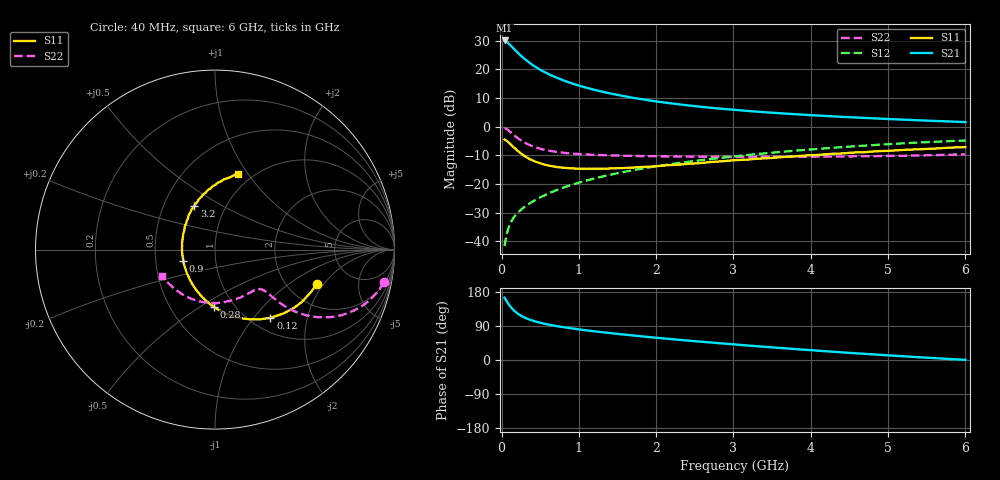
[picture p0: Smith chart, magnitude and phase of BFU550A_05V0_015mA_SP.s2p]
! Filename:  P:\Prog\Test\Noise\ATS_data\Testdata_Net\03 Spar\BFU550A_APG2013_35_C05_05p0V_015mA_SP_CM01_D.s2p
! Date/Time: Tue 16/Apr/2013 15:10:18
! BFU550A_APG2013_35_C05_05p0V_1to35mA_SP_CM01_Bias6_R.s2p
! MDIF S-parameter v. bias file
! BFU550A_APG2013_35_C05_05p0V_1to35mA_SP_CM01
! Date/time Mon Apr 15 15:41:37 2013
! VAR V_out= 5.0000
! VAR I_out= 14.9950
! VAR V_in= 0.8331
! VAR I_in= 0.1613
! Device data file deembeded for feedlines and parallel
! Original file: \03 Spar\BFU550A_APG2013_35_C05_05p0V_015mA_SP_CM01_R.s2p
! Feed-files: PR017V01_150413_Feed1.s2p, PR017V01_150413_Feed2.s2p
! Parallel-file: PR017V01_150413_Par.s2p
# MHz S MA R 50
!  Freq-MHz  S11-mag  S11-arg  S21-mag  S21-arg  S12-mag  S12-arg  S22-mag  S22-arg
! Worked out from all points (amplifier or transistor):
!   98 points, 40 MHz to 6 GHz, reference 50 ohm
!   highest |S21| = 30.1 dB at 40 MHz (marker M1)
!   |S21| within 3 dB of that: start of sweep to 162.9 MHz
!   unconditionally stable (mu >= 1): 1.146 GHz to 2.102 GHz
!   at 300 MHz: K = 0.73, MSG = 25.8 dB, |S12| = -28.0 dB
!   at 1.6 GHz: K = 1.01, MAG = 12.6 dB, |S12| = -15.7 dB
!   at 6 GHz: K = 0.91, MSG = 3.2 dB, |S12| = -4.8 dB
!   S11 on the Smith chart (normalised r, x): 40 MHz: 2.86, -1.71; 120 MHz: 1.22, -1.22; 280 MHz: 0.81, -0.57; 900 MHz: 0.69, -0.09; 3.2 GHz: 0.71, +0.37; 6 GHz: 0.86, +0.90
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40  0.5981 -18.7  32.14 164.4  0.00819 82.1  0.9586 -10.9
60  0.5736 -27.6  30.74 157.2  0.01196 78.8  0.9249 -15.9
80  0.5483 -36.0  29.36 150.8  0.01538 76.0  0.8852 -20.3
100  0.5193 -43.6  27.71 145.0  0.01843 73.7  0.8412 -24.0
120  0.4895 -50.9  26.15 139.7  0.02121 71.8  0.7979 -27.2
160  0.4347 -63.3  22.96 130.9  0.02616 69.3  0.7166 -31.9
200  0.3883 -73.9  20.22 124.0  0.03043 68.1  0.647 -34.9
240  0.3501 -83.0  17.98 118.4  0.03432 67.8  0.5913 -36.9
280  0.3196 -91.1  16.08 113.8  0.03808 67.8  0.5465 -38.1
320  0.2949 -98.2  14.49 110.1  0.04174 68.0  0.5104 -38.9
380  0.2661 -107.7  12.58 105.4  0.04722 68.5  0.4681 -39.4
500  0.2297 -123.6  9.909 98.4  0.05822 69.6  0.4138 -39.5
700  0.1991 -144.4  7.308 90.0  0.07682 70.7  0.3654 -39.7
900  0.1876 -160.8  5.783 83.6  0.09582 71.0  0.3408 -40.5
1050  0.184 -170.8  5.005 79.5  0.1103 70.8  0.3303 -41.7
1500  0.189 165.2  3.593 68.9  0.1541 68.9  0.3126 -47.4
2050  0.2065 145.0  2.709 57.9  0.2078 65.3  0.3039 -56.9
3100  0.2628 117.7  1.928 39.6  0.3124 56.7  0.2969 -79.2
3200  0.2676 115.6  1.879 38.0  0.3224 55.8  0.2979 -81.6
4100  0.3222 99.1  1.566 24.4  0.4106 47.0  0.3002 -103.8
5200  0.3938 83.0  1.329 9.8  0.5128 35.3  0.3113 -131.9
6000  0.4402 72.8  1.204 0.4  0.5745 26.3  0.3269 -153.6
